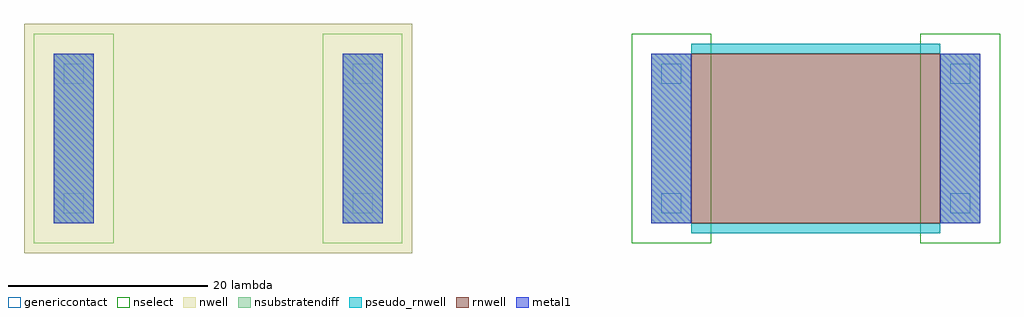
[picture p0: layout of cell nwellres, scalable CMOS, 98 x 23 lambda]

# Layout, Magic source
magic
tech scmos
<< nwell >>
rect 10 9 49 32
<< nselect >>
rect 11 10 19 31
rect 40 10 48 31
rect 71 10 79 31
rect 100 10 108 31
<< nsubstratendiff >>
rect 13 12 17 29
rect 42 12 46 29
rect 73 12 77 29
rect 102 12 106 29
<< genericcontact >>
rect 14 26 16 28
rect 43 26 45 28
rect 74 26 76 28
rect 103 26 105 28
rect 14 13 16 15
rect 43 13 45 15
rect 74 13 76 15
rect 103 13 105 15
<< metal1 >>
rect 13 12 17 29
rect 42 12 46 29
rect 73 12 77 29
rect 102 12 106 29
<< pseudo_rnwell >>
rect 77 29 102 30
rect 77 11 102 12
<< rnwell >>
rect 77 12 102 29
<< end >>
